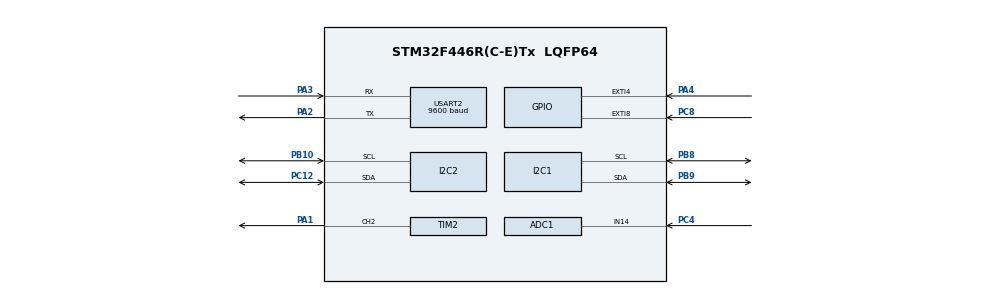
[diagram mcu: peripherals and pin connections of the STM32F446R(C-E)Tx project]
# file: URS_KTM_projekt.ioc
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ADC1.Channel-0\#ChannelRegularConversion=ADC_CHANNEL_14
ADC1.NbrOfConversionFlag=1
ADC1.Rank-0\#ChannelRegularConversion=1
ADC1.SamplingTime-0\#ChannelRegularConversion=ADC_SAMPLETIME_3CYCLES
ADC1.master=1
Mcu.Family=STM32F4
Mcu.Name=STM32F446R(C-E)Tx
Mcu.Package=LQFP64
NVIC.EXTI4_IRQn=true\:4\:0\:true\:false\:true\:true\:true\:true
NVIC.EXTI9_5_IRQn=true\:3\:0\:true\:false\:true\:true\:true\:true
NVIC.PriorityGroup=NVIC_PRIORITYGROUP_4
NVIC.TIM6_DAC_IRQn=true\:3\:0\:true\:false\:true\:true\:true\:true
PA1.Signal=S_TIM2_CH2
PA13.Mode=Serial_Wire
PA13.Signal=SYS_JTMS-SWDIO
PA14.Mode=Serial_Wire
PA14.Signal=SYS_JTCK-SWCLK
PA2.Mode=Asynchronous
PA2.Signal=USART2_TX
PA3.Mode=Asynchronous
PA3.Signal=USART2_RX
PA4.GPIO_ModeDefaultEXTI=GPIO_MODE_IT_FALLING
PA4.GPIO_PuPd=GPIO_PULLUP
PA4.Signal=GPXTI4
PB10.Mode=I2C
PB10.Signal=I2C2_SCL
PB8.Mode=I2C
PB8.Signal=I2C1_SCL
PB9.Mode=I2C
PB9.Signal=I2C1_SDA
PC12.Mode=I2C
PC12.Signal=I2C2_SDA
PC4.Signal=ADCx_IN14
PC8.GPIO_ModeDefaultEXTI=GPIO_MODE_IT_FALLING
PC8.GPIO_PuPd=GPIO_PULLUP
PC8.Signal=GPXTI8
ProjectManager.HeapSize=0x200
ProjectManager.StackSize=0x400
ProjectManager.TargetToolchain=STM32CubeIDE
RCC.CortexFreq_Value=16000000
RCC.USBFreq_Value=96000000
RCC.VCOOutputFreq_Value=192000000
SH.ADCx_IN14.0=ADC1_IN14,IN14
SH.S_TIM2_CH2.0=TIM2_CH2,PWM Generation2 CH2
TIM2.Channel-PWM\ Generation2\ CH2=TIM_CHANNEL_2
TIM2.Period=999
TIM2.Prescaler=15
TIM6.Period=99
TIM6.Prescaler=15999
USART2.BaudRate=9600
USART2.VirtualMode=VM_ASYNC
VP_TIM6_VS_ClockSourceINT.Mode=Enable_Timer
board=custom

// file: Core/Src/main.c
/* USER CODE BEGIN Header */
/**
  ******************************************************************************
  * @file           : main.c
  * @brief          : Main program body
  ******************************************************************************
  * @attention
  *
  * Copyright (c) 2025 STMicroelectronics.
  * All rights reserved.
  *
  * This software is licensed under terms that can be found in the LICENSE file
  * in the root directory of this software component.
  * If no LICENSE file comes with this software, it is provided AS-IS.
  *
  ******************************************************************************
  */
/* USER CODE END Header */
#include "main.h"
#include "adc.h"
#include "i2c.h"
#include "tim.h"
#include "usart.h"
#include "gpio.h"

/* USER CODE BEGIN Includes */

#include "BMP180.h"
#include <stdio.h>

/* USER CODE END Includes */

/* USER CODE BEGIN PV */

volatile uint8_t debounce_flag = 0;  // Zastavica za debounce
volatile uint8_t pwm_manual = 0; // Zastavica za manualni mod PWM-a
volatile uint8_t pwm_konst = 0; // Zastavica za prebacivanje PWM-a na konstantnu vrijednost
uint16_t rawValue;
uint16_t pwmValue;
float temperature;
uint16_t value;
uint16_t dutyCycle;
float speed;

/* USER CODE END PV */

void SystemClock_Config(void);

/* USER CODE BEGIN 0 */

/******* FUNKCIJE ZA LCD ********/
void lcd_naredba(char podatak, uint8_t adresa)
{
	char podaci[4], left, right;  // definiranje podataka koji  će biti poslani

	left = podatak & 0xF0;  // 4 viša bita (MSB)
	right = (podatak << 4) & 0xF0;  // 4 niža bita (LSB)

	podaci[0] = left | 0x0C; // naredba za zapisivanje (RS = 0, EN = 1)
	podaci[1] = left | 0x08;  // naredba za otpuštanje enable linije (EN = 0)
	podaci[2] = right | 0x0C;
	podaci[3] = right | 0x08;

	HAL_I2C_Master_Transmit(&hi2c1, adresa<<1, podaci, 4, 100);	  // slanje svih podataka na LCD
}

void lcd_podatak(char podatak, uint8_t adresa)
{
	char podaci[4], left, right;  // definiranje podatak koji  će biti poslani

	left = podatak & 0xF0;  // 4 viša bita (MSB)
	right = (podatak << 4) & 0xF0;  // 4 niža bita (LSB)

	podaci[0] = left | 0x0D;  // naredba za zapisivanje podataka (RS = 1, EN = 1)
	podaci[1] = left | 0x09;  // naredba za otpuštanje enable linije (EN = 0)
	podaci[2] = right | 0x0D;
	podaci[3] = right | 0x09;

	HAL_I2C_Master_Transmit(&hi2c1, adresa<<1, podaci, 4, 100);
}

void lcd_set_cursor(uint8_t line, uint8_t addr) {
    if (line == 0) {
        lcd_naredba(0x80, addr); // postavlja kursor na početak prve linije
    } else if (line == 1) {
        lcd_naredba(0xC0, addr); // postavlja kursor na početak druge linije
    }
}
/******** FUNKCIJE ZA LCD *******/

/* USER CODE END 0 */

int main(void)
{

  /* MCU Configuration--------------------------------------------------------*/

  /* Reset of all peripherals, Initializes the Flash interface and the Systick. */
  HAL_Init();

  /* Configure the system clock */
  SystemClock_Config();

  /* Initialize all configured peripherals */
  MX_GPIO_Init();
  MX_I2C1_Init();
  MX_I2C2_Init();
  MX_TIM2_Init();
  MX_USART2_UART_Init();
  MX_TIM6_Init();
  MX_ADC1_Init();
  /* USER CODE BEGIN 2 */

  /********* LCD ADRESE *********/
  	uint8_t addr = 0x27;  // adresa LCD-a
  	char sucelje = 0x38;  // naredba koja definira tip LCD-a (8-bitni, dvije linije)
    char initial0 = 0x03; // naredba za reesetiranje
    char bit_4 = 0x02;  // naredba za 4-bitni režim rada
    char ekran0 = 0x00;  // naredba za brisanje ekrana
    char ekran1 = 0x01;  // naredba za pomicanje kursora
    char kursor = 0x04;  // naredba za kontrolu kursora
    char ukljuci = 0x0F;  // naredba za uključenje LCD-a
    char pocetak = 0x02;  // naredba za postavljanje kursora na početak (1. red, 1. pozicija)

    char prva = 0x80;  // postavljanje kursora na prvu liniju
    char druga = 0xC0;  // postavljanje kursora na drugu liniju
    char str0[16] = "";  // polje za prvi red
  	char str1[16] = "";  // polje za drugi red
    uint8_t i;
    /******** LCD ADRESE *******/

    /************ LCD INICIJALIZACIJA *************************/
       HAL_Delay(15);
       lcd_naredba(initial0,addr);  // slanje 0x03 kako bi se LCD resetirao u 8-bitni mod
       HAL_Delay(5);
       lcd_naredba(initial0,addr);  // ponovo slanje
       HAL_Delay(1);
       lcd_naredba(initial0,addr);  // ponovo slanje
       HAL_Delay(1);

       lcd_naredba(bit_4,addr);  // slanje 0x02 za prelazak u 4-bitni mod
       lcd_naredba(sucelje,addr);  // postavljanje sučelja
       lcd_naredba(ekran1,addr);
       lcd_naredba(ekran0,addr);
       lcd_naredba(ekran0,addr);
       lcd_naredba(ekran1,addr);	// proces brisanja zaslona
       lcd_naredba(kursor,addr);	// namještanje kursora
       lcd_naredba(ukljuci,addr);	// uključivanje ekrana, kursora i treptanja kursora

       HAL_Delay(5);

       lcd_naredba(pocetak,addr);	// postavljanje kursora na početnu poziciju

       HAL_Delay(2);
       /**************************** LCD INICIJALIZACIJA *****************/

       lcd_naredba(ekran1,addr);	// šalje 0x01 kako bi se zaslon očistio
       HAL_Delay(2);
       lcd_naredba(prva,addr);	// šalje 0x80 za postavljanje kursora na početak prve linije
       HAL_Delay(2);

       for(i = 0; i<sizeof(str0); i++){			// ispisivanje teksta iz polja za prvu liniju
            lcd_podatak(str0[i], addr);			// slanje jednog po jednog podatka na LCD
       }

       HAL_Delay(5);
       lcd_naredba(druga,addr);		// šalje 0xC0 za postavljanje kursora na početak druge linije

       for(i = 0; i<sizeof(str1); i++){			// ispisivanje teksta iz polja na drugu liniju
            lcd_podatak(str1[i], addr);			// slanje jednoga po jednog podatka na LCD
       }

       /************************ BMP180 ********************/
       HAL_TIM_PWM_Start(&htim2, TIM_CHANNEL_2);  //pokretanje PWM-a na timeru 2
       BMP180_Start();  // Inicijalizacija senzora

       /*********************** BMP180 ***********************/

  /* USER CODE END 2 */

  /* Infinite loop */
  /* USER CODE BEGIN WHILE */
  while (1)
  {

	  if(pwm_manual % 2 == 0 && pwm_konst % 2 == 0){
		  temperature = BMP180_GetTemp();  // očitavanje vrijednosti temperature sa senzora
		  value = (((temperature + 40) * 4095) / (85 + 40));  // izračun vrijednosti za PWM
		  dutyCycle = ((value * 1000) / 4095);
		  speed = ((value * 1600) / 4095);  // izračun brzine za prikaz na LCD-u

		  __HAL_TIM_SET_COMPARE(&htim2, TIM_CHANNEL_2, dutyCycle);  // postavljanje PWM vrije

		  char temp_str[16];
		  sprintf(temp_str, "TEMP: %.2f C   ", temperature);	// prikaz temperature na LCD-u
		  lcd_set_cursor(0, addr);       // Postavi kursor na prvu liniju
		  for (uint8_t i = 0; i < 16; i++) {
			  	 lcd_podatak(temp_str[i], addr); // Ispisivanje jednog po jednog karaktera na LCD
		  }

		  char speed_str[16];
		  sprintf(speed_str, "BRZINA: %.0f      ", speed);		// prikaz brzine ma LCD-u
		  lcd_set_cursor(1, addr);       // Postavi kursor na drugu liniju
		  for (uint8_t i = 0; i < 16; i++) {
			  lcd_podatak(speed_str[i], addr); // Ispisivanje jednog po jednog karaktera na LCD
		  }

		  HAL_Delay(2000);

	  	  }else if(pwm_manual % 2 == 1){

	  		  HAL_ADC_Start(&hadc1);
	  		  HAL_ADC_PollForConversion(&hadc1, HAL_MAX_DELAY);  // pokretanje ADC-a
	  		  rawValue = HAL_ADC_GetValue(&hadc1);		// čitanje vrijednosti s analognog ulaza
	  		  pwmValue = (rawValue * __HAL_TIM_GET_AUTORELOAD(&htim2)) / 4095;	// proračun pwm vrijednosti iz vrijednosti analognog ulaza
	  		  speed = ((rawValue * 1600) / 4095);

	  		  __HAL_TIM_SET_COMPARE(&htim2, TIM_CHANNEL_2, pwmValue);	// postavljanje PWm vrijednosti

	  		  char text_str[16];
	  		  sprintf(text_str, "Manualni mod    ", speed);
	  		  lcd_set_cursor(0, addr);		// postavi kursor na prvu liniju
	  		  for (uint8_t i = 0; i < 16; i++) {
	  			  lcd_podatak(text_str[i], addr); // ispis jednog po jednog karaktera na LCD
	  		  }

	  		  char speed_str[16];
	  		  sprintf(speed_str, "Brzina: %.0f    ", speed);		// prikaz brzine na LCD-u
	  		  lcd_set_cursor(1, addr);       // postavi kursor na drugu liniju
	  		  for (uint8_t i = 0; i < 16; i++) {
	  			  lcd_podatak(speed_str[i], addr); 	// ispis jednog po jednog karaktera na LC
	  		  }

	  		  HAL_Delay(2000);

	  	  	  }else if(pwm_konst % 2 == 1){

	  	  		  __HAL_TIM_SET_COMPARE(&htim2, TIM_CHANNEL_2, 500);	// postavljanje fiksne vrijednosti PWM-a
	  	  		  temperature = BMP180_GetTemp();		// očitanje temperature sa senzora
	  	  		  char text_str[16];
	  	  		  sprintf(text_str, "Konstantni mod    ", speed);
	  	  		  lcd_set_cursor(0, addr);
	  	  		  for (uint8_t i = 0; i < 16; i++) {
	  	  			  lcd_podatak(text_str[i], addr);
	  	  		  }
	  	  		  char temp_str[16];
	  	  		  sprintf(temp_str, "TEMP: %.2f C    ", temperature);	// ispis temperature na LCD-u
	  	  		  lcd_set_cursor(1, addr);
	  	  		  for (uint8_t i = 0; i < 16; i++) {
	  	  			  lcd_podatak(temp_str[i], addr);
	  	  		  }

	  	  		  HAL_Delay(2000);
	  	  	  }

    /* USER CODE END WHILE */

  }
}

void SystemClock_Config(void)
{
  RCC_OscInitTypeDef RCC_OscInitStruct = {0};
  RCC_ClkInitTypeDef RCC_ClkInitStruct = {0};

  /** Configure the main internal regulator output voltage
  */
  __HAL_RCC_PWR_CLK_ENABLE();
  __HAL_PWR_VOLTAGESCALING_CONFIG(PWR_REGULATOR_VOLTAGE_SCALE3);

  /** Initializes the RCC Oscillators according to the specified parameters
  * in the RCC_OscInitTypeDef structure.
  */
  RCC_OscInitStruct.OscillatorType = RCC_OSCILLATORTYPE_HSI;
  RCC_OscInitStruct.HSIState = RCC_HSI_ON;
  RCC_OscInitStruct.HSICalibrationValue = RCC_HSICALIBRATION_DEFAULT;
  RCC_OscInitStruct.PLL.PLLState = RCC_PLL_NONE;
  if (HAL_RCC_OscConfig(&RCC_OscInitStruct) != HAL_OK)
  {
    Error_Handler();
  }

  /** Initializes the CPU, AHB and APB buses clocks
  */
  RCC_ClkInitStruct.ClockType = RCC_CLOCKTYPE_HCLK|RCC_CLOCKTYPE_SYSCLK
                              |RCC_CLOCKTYPE_PCLK1|RCC_CLOCKTYPE_PCLK2;
  RCC_ClkInitStruct.SYSCLKSource = RCC_SYSCLKSOURCE_HSI;
  RCC_ClkInitStruct.AHBCLKDivider = RCC_SYSCLK_DIV1;
  RCC_ClkInitStruct.APB1CLKDivider = RCC_HCLK_DIV1;
  RCC_ClkInitStruct.APB2CLKDivider = RCC_HCLK_DIV1;

  if (HAL_RCC_ClockConfig(&RCC_ClkInitStruct, FLASH_LATENCY_0) != HAL_OK)
  {
    Error_Handler();
  }
}

/* USER CODE BEGIN 4 */

void HAL_GPIO_EXTI_Callback(uint16_t GPIO_Pin) {
    if (GPIO_Pin == GPIO_PIN_8 && debounce_flag == 0) {  // provjera je li pritisnuto tipkalo na pinu PC8
        debounce_flag = 1; 		// postavlja zastavicu da se spriječi višestruko aktiviranje
        HAL_TIM_Base_Start_IT(&htim6); // pokreni TIM6 za otklanjanje bouncinga
    }
    if (GPIO_Pin == GPIO_PIN_4 && debounce_flag == 0) {		// provjera je li pritisnuto tipkalo na pinu PA4
    	debounce_flag = 1; 		// postavlja zastavicu da se spriječi višestruko aktiviranje
    	HAL_TIM_Base_Start_IT(&htim6); 		// pokreni TIM6 za otklanjanje bouncinga
    }
}

void HAL_TIM_PeriodElapsedCallback(TIM_HandleTypeDef *htim) {
    if (htim->Instance == TIM6) { // provjerite je li TIM6 generirao prekid
        HAL_TIM_Base_Stop_IT(&htim6); // zaustavi TIM6
        debounce_flag = 0; // resetiraj zastavicu za debounce kako bi se omogućilo ponovno aktiviranje prekida

        // provjeri je li tipkalo još uvijek pritisnuto
        if (HAL_GPIO_ReadPin(GPIOC, GPIO_PIN_8) == GPIO_PIN_RESET) { // Ako je tipkalo pritisnuto
            pwm_manual++;		// povećaj brojač za manualni mod
        }

        if(HAL_GPIO_ReadPin(GPIOA, GPIO_PIN_4) == GPIO_PIN_RESET){
        	pwm_konst++;		// povečaj brojač za konstantni mod
        }
    }
}

/* USER CODE END 4 */

void Error_Handler(void)
{
  __disable_irq();
  while (1){
	  }
  }
